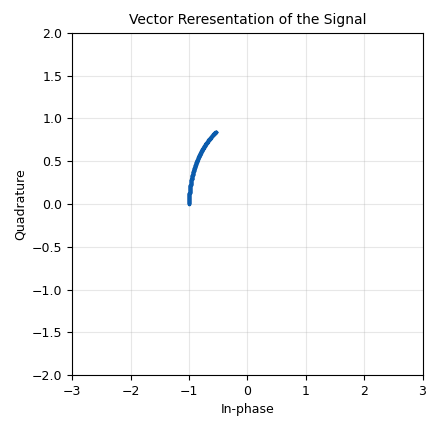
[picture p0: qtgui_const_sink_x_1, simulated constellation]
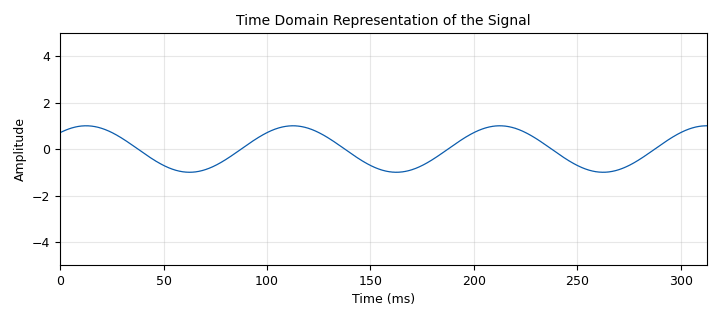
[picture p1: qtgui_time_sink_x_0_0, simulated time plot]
options:
  parameters:
    author: bulld
    generate_options: qt_gui
    id: default
    output_language: python
    title: Not titled yet
  states: {}

blocks:
- name: Alpha
  id: variable_qtgui_range
  parameters:
    start: '0'
    step: '0.1'
    stop: '10'
    value: '0'
  states: {}
- name: Amplitude
  id: variable_qtgui_range
  parameters:
    start: '0'
    step: '0.5'
    stop: '10'
    value: '1'
  states: {}
- name: Frequency
  id: variable_qtgui_range
  parameters:
    start: '0'
    step: '0.1'
    stop: '100'
    value: '10'
  states: {}
- name: Phase
  id: variable_qtgui_range
  parameters:
    start: '0'
    step: '0.1'
    stop: 2*3.14159265
    value: '0'
  states: {}
- name: samp_rate
  id: variable
  parameters:
    value: '32000'
  states: {}
- name: analog_sig_source_x_0_2
  id: analog_sig_source_x
  parameters:
    amp: Amplitude
    freq: Frequency
    offset: '0'
    phase: Phase
    samp_rate: samp_rate
    type: complex
    waveform: analog.GR_COS_WAVE
  states: {}
- name: blocks_complex_to_float_0
  id: blocks_complex_to_float
  parameters: {}
  states: {}
- name: qtgui_const_sink_x_1
  id: qtgui_const_sink_x
  parameters:
    alpha1: '3'
    name: '"Vector Reresentation of the Signal"'
    size: '512'
    type: complex
    xmax: '3'
    xmin: '-3'
  states: {}
- name: qtgui_time_sink_x_0_0
  id: qtgui_time_sink_x
  parameters:
    entags: 'False'
    name: '"Time Domain Representation of the Signal"'
    size: '10000'
    srate: samp_rate
    type: float
    update_time: '0.1'
    ymax: '5'
    ymin: '-5'
  states: {}

connections:
- [analog_sig_source_x_0_2, '0', blocks_complex_to_float_0, '0']
- [analog_sig_source_x_0_2, '0', qtgui_const_sink_x_1, '0']
- [blocks_complex_to_float_0, '0', qtgui_time_sink_x_0_0, '0']

metadata:
  file_format: 1
  grc_version: 3.10.12.0
